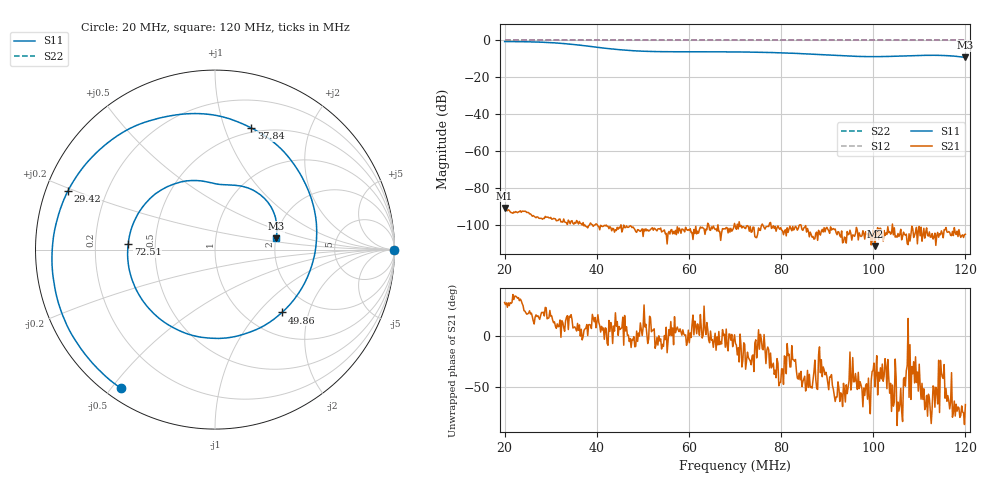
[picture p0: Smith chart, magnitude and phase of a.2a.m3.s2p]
! Anritsu VNA Master:  Model: MS2036C/10/77
! SN:  1601066
! /bd0/18may09/252.ew.m3.s2p
! Existing Calibration Information:
! TYPE:  Current Settings,  Active Cal Settings
! TIME:  05/09/2018 08:10:45 AM,  05/09/2018 08:04:56 AM
! INTERNAL TEMP:  41.8 C,  42.3 C
! # POINTS:  500,  500
! START FREQ:  20.000 MHz,  20.000 MHz
! STOP FREQ:  120.000 MHz,  120.000 MHz
! SOURCE POWER:  High,  High
! IFBW:  50 Hz,  50 Hz
! AVG FACTOR:  1 ,  1
! REF PLANE 1:  0 mm,  0 mm
! REF PLANE 2:  0 mm,  0 mm
! CAL TYPE:  Full S11,  Full S11
! CAL METHOD:  SOLT,  SOLT
! CAL LINE TYPE:  Coax,  Coax
! DUT PORT 1:  K-Conn(F),  K-Conn(F)
! DUT PORT 2:  K-Conn(F),  K-Conn(F)
! CAL STATUS:  OK: Accuracy High,  --
# GHZ S DB R 50.0
! FREQ.GHZ  S11DB  S11A  S21DB  S21A  S12DB  S12A  S22DB  S22A
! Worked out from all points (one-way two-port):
!   500 points, 20 MHz to 120 MHz, reference 50 ohm
!   highest |S21| = -90.85 dB at 20 MHz (marker M1); lowest = -111.5 dB at 100.4 MHz (marker M2)
!   lowest |S11| = -9.2 dB at 120 MHz (marker M3), VSWR 2.06, Z = 100 + j14.3 ohm
!   |S11| at or under -10 dB: nowhere
!   |S22| runs from 0.0 to 0.0 dB; largest |S21 - S12| = 1
!   S11 on the Smith chart (normalised r, x): 20 MHz: 0.04, -0.53; 29.42 MHz: 0.06, +0.19; 37.84 MHz: 0.46, +1.24; 49.86 MHz: 1.43, -1.36; 72.51 MHz: 0.35, +0.03; 120 MHz: 2.00, +0.29
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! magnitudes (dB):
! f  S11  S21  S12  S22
! 20 MHz  -0.6  -90.8  0.0  0.0
! 24.81 MHz  -0.7  -93.3  0.0  0.0
! 29.42 MHz  -1.1  -95.7  0.0  0.0
! 32.83 MHz  -1.7  -96.8  0.0  0.0
! 36.83 MHz  -2.7  -100.1  0.0  0.0
! 37.84 MHz  -3.0  -101.0  0.0  0.0
! 41.64 MHz  -4.2  -100.2  0.0  0.0
! 44.65 MHz  -5.0  -102.3  0.0  0.0
! 47.05 MHz  -5.4  -100.9  0.0  0.0
! 49.86 MHz  -5.8  -102.1  0.0  0.0
! 53.47 MHz  -6.1  -102.0  0.0  0.0
! 70.1 MHz  -6.2  -101.0  0.0  0.0
! 72.51 MHz  -6.3  -100.5  0.0  0.0
! 80.52 MHz  -6.7  -105.3  0.0  0.0
! 86.73 MHz  -7.4  -106.6  0.0  0.0
! 95.95 MHz  -8.6  -106.2  0.0  0.0
! 100.4 MHz  -8.8  -111.5  0.0  0.0
! 103.4 MHz  -8.6  -104.1  0.0  0.0
! 109.8 MHz  -8.1  -103.1  0.0  0.0
! 113.8 MHz  -8.1  -105.7  0.0  0.0
! 116.8 MHz  -8.4  -105.6  0.0  0.0
! 120 MHz  -9.2  -105.0  0.0  0.0
